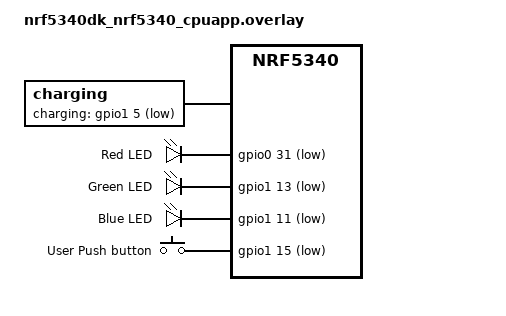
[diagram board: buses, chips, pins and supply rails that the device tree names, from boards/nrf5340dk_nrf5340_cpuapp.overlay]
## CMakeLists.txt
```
#
# Copyright (c) 2021 Nordic Semiconductor
#
# SPDX-License-Identifier: LicenseRef-Nordic-5-Clause
#
cmake_minimum_required(VERSION 3.13.1)

find_package(Zephyr REQUIRED HINTS $ENV{ZEPHYR_BASE})
project(nrf_dm)

# NORDIC SDK APP START
target_sources(app PRIVATE
  src/main.c
  src/peer.c
  src/power_mgmt.c
  )
# NORDIC SDK APP END

zephyr_library_include_directories(${CMAKE_CURRENT_SOURCE_DIR})

target_link_options(app PUBLIC "-Wl,--no-wchar-size-warning")
```

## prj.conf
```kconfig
#
# Copyright (c) 2021 Nordic Semiconductor ASA
#
# SPDX-License-Identifier: LicenseRef-Nordic-5-Clause
#
CONFIG_GPIO=y

CONFIG_STDOUT_CONSOLE=y
CONFIG_LOG=y
CONFIG_SERIAL=n
CONFIG_USE_SEGGER_RTT=y
CONFIG_CONSOLE=y
CONFIG_RTT_CONSOLE=y
CONFIG_LOG_BACKEND_RTT=y

CONFIG_CLOCK_CONTROL_NRF_K32SRC_XTAL=y
CONFIG_CLOCK_CONTROL_NRF_K32SRC_20PPM=y


# BT
CONFIG_BT=y
CONFIG_BT_DEBUG_LOG=y

CONFIG_BT_CENTRAL=y
CONFIG_BT_PERIPHERAL=y

CONFIG_BT_SCAN=y
CONFIG_BT_SCAN_FILTER_ENABLE=y
CONFIG_BT_SCAN_NAME_CNT=1
CONFIG_BT_SCAN_MANUFACTURER_DATA_CNT=1
CONFIG_BT_SCAN_WITH_IDENTITY=y

CONFIG_BT_EXT_ADV=y

CONFIG_BT_DEVICE_NAME="DM_BEACON"


# Distance Measurement
CONFIG_DM_MODULE=y
CONFIG_NEWLIB_LIBC=y

CONFIG_MPSL=y
CONFIG_MPSL_TIMESLOT_SESSION_COUNT=1

CONFIG_DM_MODULE_LOG_LEVEL_DBG=n
```

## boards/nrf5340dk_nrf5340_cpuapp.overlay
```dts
/*
 * Copyright (c) 2022 Nordic Semiconductor ASA
 *
 * SPDX-License-Identifier: LicenseRef-Nordic-5-Clause
 */

/ {
	charging {
		compatible = "charging";
		charging-gpios = <&gpio1 5 GPIO_ACTIVE_LOW>;
	};
        
	leds {
		compatible = "gpio-leds";
		led_red: led_red {
			gpios = <&gpio0 31 GPIO_ACTIVE_LOW>;
			label = "Red LED";
		};
		led_green: led_green {
			gpios = <&gpio1 13 GPIO_ACTIVE_LOW>;
			label = "Green LED";
		};
		led_blue: led_blue {
			gpios = <&gpio1 11 GPIO_ACTIVE_LOW>;
			label = "Blue LED";
		};
	};
	
	buttons {
		compatible = "gpio-keys";
		button_usr: button_usr {
			gpios = <&gpio1 15 (GPIO_PULL_UP | GPIO_ACTIVE_LOW)>;
			label = "User Push button";
		};
	};

	/* These aliases are provided for compatibility with samples */
	aliases {
		led0 = &led_red;
		led1 = &led_green;
		led2 = &led_blue;
		sw0 = &button_usr;
		bootloader-led0 = &led_red;
	};
};

&gpiote {
	status = "okay";
};

&gpio0 {
	status = "okay";
	/* do not use GPIOTE for edge sensing by default
	* for all pins, as due to hardware anomaly it
	* consumes to much power (350uA instead of 100uA)
	* (see zephyr/issues/28499) 
	*/
	sense-edge-mask = <0xffffffff>;
};

&gpio1 {
	status = "okay";
};


&ipc0 {
	zephyr,buffer-size = <1536>;
};
```

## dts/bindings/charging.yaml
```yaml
# Copyright (c) 2021, Silvano Cortesi
# Copyright (c) 2021, ETH Zürich
# SPDX-License-Identifier: Apache-2.0

description: |
    Description for a charging pin

compatible: "charging"

include: base.yaml

properties:
    charging-gpios:
      type: phandle-array
      required: false
      description: |
        Charging indication pin.
```

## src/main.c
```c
/*
 * Copyright (c) 2021 Nordic Semiconductor ASA
 *
 * SPDX-License-Identifier: LicenseRef-Nordic-5-Clause
 */

/** @file
 *  @brief Nordic Distance Measurement sample
 */

#include <zephyr/kernel.h>
#include <zephyr/sys/byteorder.h>
#include <zephyr/sys/printk.h>

#include <bluetooth/scan.h>
#include <zephyr/bluetooth/bluetooth.h>
#include <zephyr/drivers/gpio.h>

#include "peer.h"
#include <dm.h>
#include <src/main.h>

#define LED_BLUE_NODE DT_ALIAS(led2)
static const struct gpio_dt_spec led_blue =
    GPIO_DT_SPEC_GET(LED_BLUE_NODE, gpios);

/* message queue to share charging state with the main thread */
K_MSGQ_DEFINE(charging_state_queue, sizeof(uint8_t), 1, sizeof(uint8_t));
#define LED_RED_NODE DT_ALIAS(led0)
static const struct gpio_dt_spec led_red =
    GPIO_DT_SPEC_GET(LED_RED_NODE, gpios);

#define DESRIED_DM_RANGING_MODE DM_RANGING_MODE_MCPD

#define DEVICE_NAME CONFIG_BT_DEVICE_NAME
#define DEVICE_NAME_LEN (sizeof(DEVICE_NAME) - 1)

#define COMPANY_CODE 0x0059
#define SUPPORT_DM_CODE 0xFF55AA5A

struct adv_mfg_data {
  uint16_t company_code;    /* Company Identifier Code. */
  uint32_t support_dm_code; /* To identify the device that supports distance
                               measurement. */
  uint32_t
      access_address; /* The access address used to measure the distance. */
} __packed;

static struct adv_mfg_data mfg_data;

struct bt_le_adv_param adv_param_noconn = BT_LE_ADV_PARAM_INIT(
    BT_LE_ADV_OPT_USE_IDENTITY | BT_LE_ADV_OPT_SCANNABLE |
        BT_LE_ADV_OPT_NOTIFY_SCAN_REQ,
    BT_GAP_ADV_FAST_INT_MIN_1, BT_GAP_ADV_FAST_INT_MAX_1, NULL);

struct bt_le_adv_param *adv_param = &adv_param_noconn;

// advertising data
static const struct bt_data ad[] = {
    BT_DATA_BYTES(BT_DATA_FLAGS, (BT_LE_AD_GENERAL | BT_LE_AD_NO_BREDR)),
    BT_DATA(BT_DATA_NAME_COMPLETE, DEVICE_NAME, DEVICE_NAME_LEN),
};

// scan response packet, needed for DM
static const struct bt_data sd[] = {
    BT_DATA(BT_DATA_MANUFACTURER_DATA, (unsigned char *)&mfg_data,
            sizeof(mfg_data)),
};

static struct bt_le_ext_adv *adv;

static void adv_scanned_cb(struct bt_le_ext_adv *adv,
                           struct bt_le_ext_adv_scanned_info *info) {
  struct dm_request req;

  bt_addr_t to_cmp = {0};
  bt_addr_from_str("EC:76:1F:F3:44:79", &to_cmp);

  if (bt_addr_cmp(&info->addr->a, &to_cmp) == 0) {
    bt_addr_le_copy(&req.bt_addr, info->addr);
    req.role = DM_ROLE_REFLECTOR;
    req.ranging_mode = peer_ranging_mode_get();
    req.access_address = peer_access_address_get();
    req.start_delay_us = 0;

    dm_request_add(&req);
  }
}

const static struct bt_le_ext_adv_cb adv_cb = {
    .scanned = adv_scanned_cb,
};

static int adv_start(void) {
  int err;
  struct bt_le_ext_adv_start_param ext_adv_start_param = {0};

  err = bt_le_ext_adv_create(adv_param, &adv_cb, &adv);
  if (err) {
    printk("MAIN: Failed to create advertising set (err %d)\n", err);
    return err;
  }

  err = bt_le_ext_adv_set_data(adv, ad, ARRAY_SIZE(ad), sd, ARRAY_SIZE(sd));
  if (err) {
    printk("MAIN: Failed setting adv data (err %d)\n", err);
    return err;
  }

  err = bt_le_ext_adv_start(adv, &ext_adv_start_param);
  if (err) {
    printk("MAIN: Failed to start extended advertising  (err %d)\n", err);
    return err;
  }

  return err;
}

static int bt_sync_init(void) {
  /* Synchronisation is based on advertising and scanning modes.
   * It occurs when SCAN_REQ and SCAN_RESP packets are exchanged.
   */

  int err;

  printk("MAIN: DM Bluetooth LE Synchronization initialization\n");

  err = peer_access_address_prepare();
  if (err) {
    printk("MAIN: Failed to prepare access address (err %d)\n", err);
  }

  peer_ranging_mode_set(DESRIED_DM_RANGING_MODE);

  mfg_data.company_code = sys_cpu_to_le16(COMPANY_CODE);
  mfg_data.support_dm_code = sys_cpu_to_le32(SUPPORT_DM_CODE);
  mfg_data.access_address = sys_cpu_to_le32(peer_access_address_get());

  err = adv_start();
  if (err) {
    printk("MAIN: Failed to start advertising (err %d)\n", err);
    return err;
  }

  return err;
}

static void data_ready(struct dm_result *result) {
  // Do nothing, as this is reflector and not the initiator
}

static struct dm_cb dm_cb = {
    .data_ready = data_ready,
};

void main(void) {
  int err;

  struct dm_init_param init_param;

  printk("MAIN: Starting Distance Measurement example\n");

  init_param.cb = &dm_cb;

  err = dm_init(&init_param);
  if (err) {
    printk("MAIN: Distance measurement init failed (err %d)\n", err);
    return;
  }

  err = bt_enable(NULL);
  if (err) {
    printk("MAIN: Bluetooth init failed (err %d)\n", err);
    return;
  }

  err = bt_sync_init();
  if (err) {
    printk("MAIN: Synchronisation init failed (err %d)\n", err);
    return;
  }

  if (!device_is_ready(led_blue.port)) {
    printk("MAIN: Could not get LED blue Port");
  }
  err = gpio_pin_configure_dt(&led_blue, GPIO_OUTPUT_INACTIVE);
  if (err) {
    printk("MAIN: Couldn't configure LED blue (err %d)\n", err);
    return;
  }

  if (!device_is_ready(led_red.port)) {
    printk("MAIN: Could not get LED red Port");
  }
  err = gpio_pin_configure_dt(&led_red, GPIO_OUTPUT_INACTIVE);
  if (err) {
    printk("MAIN: Couldn't configure LED red (err %d)\n", err);
    return;
  }

  err = charging_int_init(&charging_state_queue);
  if (err < 0) {
    printk("MAIN: Failed setting up charging interrupt (err %d)", err);
  }

  uint8_t charging_state = 0;

  while (true) {
    k_msgq_get(&charging_state_queue, &charging_state, K_MSEC(4900));
    if (!charging_state) {
      gpio_pin_set_dt(&led_red, false);
      gpio_pin_set_dt(&led_blue, true);
      k_sleep(K_MSEC(100));
      gpio_pin_set_dt(&led_blue, false);
    } else {
      gpio_pin_set_dt(&led_red, true);
    }
  }
}
```

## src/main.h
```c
/*
 * Copyright (c) 2022, Silvano Cortesi
 * Copyright (c) 2022, ETH Zürich
 *
 * SPDX-License-Identifier: Apache-2.0
 */
#ifndef _MAIN_H
#define _MAIN_H

#include <zephyr/kernel.h>

int charging_int_init(struct k_msgq *charging_state_queue_param);

#endif //_MAIN_H
```

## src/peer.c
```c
/*
 * Copyright (c) 2021 Nordic Semiconductor ASA
 *
 * SPDX-License-Identifier: LicenseRef-Nordic-5-Clause
 */

#include <zephyr/kernel.h>
#include <zephyr/bluetooth/conn.h>

#include "peer.h"

#define DEFAULT_RANGING_MODE    DM_RANGING_MODE_MCPD


static uint32_t access_address;
static enum dm_ranging_mode ranging_mode = DEFAULT_RANGING_MODE;


void peer_ranging_mode_set(enum dm_ranging_mode mode)
{
	ranging_mode = mode;
}

enum dm_ranging_mode peer_ranging_mode_get(void)
{
	return ranging_mode;
}

int peer_access_address_prepare(void)
{
	bt_addr_le_t addr = {0};
	size_t count = 1;

	bt_id_get(&addr, &count);

	access_address = addr.a.val[0];
	access_address |= addr.a.val[1] << 8;
	access_address |= addr.a.val[2] << 16;
	access_address |= addr.a.val[3] << 24;

	if (access_address == 0) {
		return -EFAULT;
	}

	return 0;
}

uint32_t peer_access_address_get(void) { return access_address; }
```

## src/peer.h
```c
/*
 * Copyright (c) 2021 Nordic Semiconductor ASA
 *
 * SPDX-License-Identifier: LicenseRef-Nordic-5-Clause
 */

#ifndef PEER_H_
#define PEER_H_

#ifdef __cplusplus
extern "C" {
#endif

#include <zephyr/kernel.h>
#include <zephyr/bluetooth/addr.h>
#include <dm.h>


/** @brief Set a new Distance Measurement ranging mode.
 *
 *  @param mode Ranging mode.
 */
void peer_ranging_mode_set(enum dm_ranging_mode mode);

/** @brief Get the current ranging mode.
 *
 *  @param None
 *
 *  @retval Ranging mode value.
 */
enum dm_ranging_mode peer_ranging_mode_get(void);

/** @brief Prepare an access address.
 *
 *  @retval 0 if the operation was successful, otherwise a (negative) error code.
 */
int peer_access_address_prepare(void);

/** @brief Get the current access address.
 *
 *  @retval Access address value.
 */
uint32_t peer_access_address_get(void);

#ifdef __cplusplus
}
#endif

#endif /* PEER_H_ */
```

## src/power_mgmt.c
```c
/*
 * Copyright (c) 2022, Silvano Cortesi
 * Copyright (c) 2022, ETH Zürich
 *
 * SPDX-License-Identifier: Apache-2.0
 */
#include <src/main.h>
#include <zephyr/drivers/gpio.h>

K_MUTEX_DEFINE(charging_state_mutex);
K_CONDVAR_DEFINE(charging_state_change);

/* charging interrupt pin */
#define CHARGING DT_PATH(charging)

static struct gpio_dt_spec charging_int =
    GPIO_DT_SPEC_GET(CHARGING, charging_gpios);

static struct gpio_callback charging_cb_data;
static struct k_msgq *charging_state_queue;
static volatile gpio_flags_t trigger_level = 0;

void charging_status_change(const struct device *dev, struct gpio_callback *cb,
                            uint32_t pins) {
  uint8_t charging_state = gpio_pin_get_dt(&charging_int);

  /* write value to queue */
  while (k_msgq_put(charging_state_queue, &charging_state, K_NO_WAIT) != 0) {
    /* message queue is full: purge old data & try again */
    k_msgq_purge(charging_state_queue);
  }

  trigger_level = trigger_level == GPIO_INT_EDGE_TO_ACTIVE
                      ? GPIO_INT_EDGE_TO_INACTIVE
                      : GPIO_INT_EDGE_TO_ACTIVE;
  gpio_pin_interrupt_configure_dt(&charging_int, trigger_level);
}

int charging_int_init(struct k_msgq *charging_state_queue_param) {
  int ret = 0;

  printk("POWER_MGMT: Starting Charging (Init)");

  charging_state_queue = charging_state_queue_param;

  if (!device_is_ready(charging_int.port)) {
    printk("POWER_MGMT: Error: charging gpio device is not ready");
    return -EIO;
  }

  ret = gpio_pin_configure_dt(&charging_int, GPIO_INPUT);
  if (ret < 0) {
    printk("POWER_MGMT: Failed to configure charging interrupt pin %d (err %d)",
            charging_int.pin, ret);
    return ret;
  }

  trigger_level = GPIO_INT_EDGE_TO_ACTIVE;
  ret = gpio_pin_interrupt_configure_dt(&charging_int, trigger_level);
  if (ret < 0) {
    printk(
        "POWER_MGMT: Failed to configure interrupt on charging interrupt pin %d (err %d)",
        charging_int.pin, ret);
    return ret;
  }

  gpio_init_callback(&charging_cb_data, charging_status_change,
                     BIT(charging_int.pin));
  ret = gpio_add_callback(charging_int.port, &charging_cb_data);
  if (ret < 0) {
    printk("POWER_MGMT: Failed to add callback to charging interrupt pin (err %d)", ret);
    return ret;
  }

  printk("POWER_MGMT: Set up charging interrupt pin %d", charging_int.pin);

  return ret;
}
```
